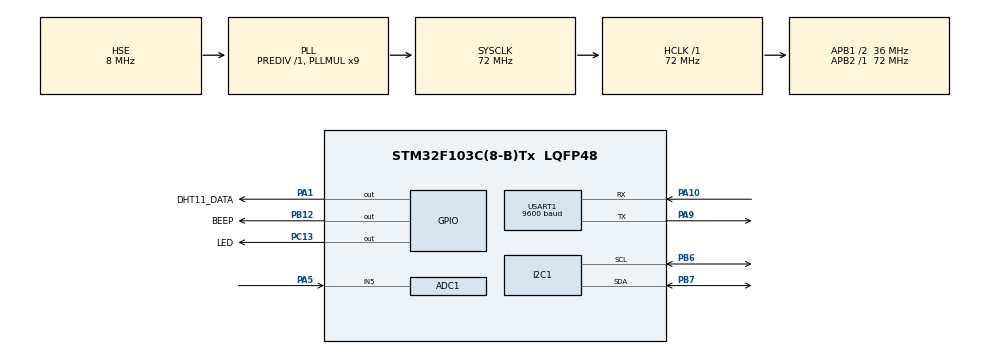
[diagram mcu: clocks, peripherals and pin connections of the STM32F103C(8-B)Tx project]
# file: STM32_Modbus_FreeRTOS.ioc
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ADC1.Channel-0\#ChannelRegularConversion=ADC_CHANNEL_5
ADC1.NbrOfConversionFlag=1
ADC1.Rank-0\#ChannelRegularConversion=1
ADC1.SamplingTime-0\#ChannelRegularConversion=ADC_SAMPLETIME_1CYCLE_5
ADC1.master=1
Dma.Request0=USART1_RX
Dma.Request1=USART1_TX
Dma.USART1_RX.0.Direction=DMA_PERIPH_TO_MEMORY
Dma.USART1_RX.0.Instance=DMA1_Channel5
Dma.USART1_RX.0.MemDataAlignment=DMA_MDATAALIGN_BYTE
Dma.USART1_RX.0.MemInc=DMA_MINC_ENABLE
Dma.USART1_RX.0.Mode=DMA_NORMAL
Dma.USART1_RX.0.PeriphDataAlignment=DMA_PDATAALIGN_BYTE
Dma.USART1_RX.0.PeriphInc=DMA_PINC_DISABLE
Dma.USART1_RX.0.Priority=DMA_PRIORITY_LOW
Dma.USART1_TX.1.Direction=DMA_MEMORY_TO_PERIPH
Dma.USART1_TX.1.Instance=DMA1_Channel4
Dma.USART1_TX.1.MemDataAlignment=DMA_MDATAALIGN_BYTE
Dma.USART1_TX.1.MemInc=DMA_MINC_ENABLE
Dma.USART1_TX.1.Mode=DMA_NORMAL
Dma.USART1_TX.1.PeriphDataAlignment=DMA_PDATAALIGN_BYTE
Dma.USART1_TX.1.PeriphInc=DMA_PINC_DISABLE
Dma.USART1_TX.1.Priority=DMA_PRIORITY_LOW
FREERTOS.Tasks01=commTask,25,128,StartCommTask,Default,NULL,Dynamic,NULL,NULL;dataTask,25,128,StartDataTask,Default,NULL,Dynamic,NULL,NULL;displayTask,8,128,StartDisplayTask,Default,NULL,Dynamic,NULL,NULL;ctrlTask,17,128,StartCtrlTask,Default,NULL,Dynamic,NULL,NULL
I2C1.I2C_Mode=I2C_Standard
Mcu.Family=STM32F1
Mcu.Name=STM32F103C(8-B)Tx
Mcu.Package=LQFP48
NVIC.DMA1_Channel4_IRQn=true\:5\:0\:false\:false\:true\:true\:false\:true\:true
NVIC.DMA1_Channel5_IRQn=true\:5\:0\:false\:false\:true\:true\:false\:true\:true
NVIC.PriorityGroup=NVIC_PRIORITYGROUP_4
NVIC.TIM4_IRQn=true\:15\:0\:false\:false\:true\:false\:false\:true\:true
NVIC.TimeBase=TIM4_IRQn
NVIC.TimeBaseIP=TIM4
NVIC.USART1_IRQn=true\:5\:0\:false\:false\:true\:true\:true\:true\:true
PA1.GPIO_Label=DHT11_DATA
PA1.Signal=GPIO_Output
PA10.Mode=Asynchronous
PA10.Signal=USART1_RX
PA13.Mode=Serial_Wire
PA13.Signal=SYS_JTMS-SWDIO
PA14.Mode=Serial_Wire
PA14.Signal=SYS_JTCK-SWCLK
PA5.Signal=ADCx_IN5
PA9.Mode=Asynchronous
PA9.Signal=USART1_TX
PB12.GPIO_Label=BEEP
PB12.PinState=GPIO_PIN_SET
PB12.Signal=GPIO_Output
PB6.Mode=I2C
PB6.Signal=I2C1_SCL
PB7.Mode=I2C
PB7.Signal=I2C1_SDA
PC13-TAMPER-RTC.GPIO_Label=LED
PC13-TAMPER-RTC.PinState=GPIO_PIN_SET
PC13-TAMPER-RTC.Signal=GPIO_Output
PC14-OSC32_IN.Mode=LSE-External-Oscillator
PC14-OSC32_IN.Signal=RCC_OSC32_IN
PC15-OSC32_OUT.Mode=LSE-External-Oscillator
PC15-OSC32_OUT.Signal=RCC_OSC32_OUT
PD0-OSC_IN.Mode=HSE-External-Oscillator
PD0-OSC_IN.Signal=RCC_OSC_IN
PD1-OSC_OUT.Mode=HSE-External-Oscillator
PD1-OSC_OUT.Signal=RCC_OSC_OUT
ProjectManager.HeapSize=0x200
ProjectManager.StackSize=0x400
ProjectManager.TargetToolchain=MDK-ARM V5.32
RCC.ADCPresc=RCC_ADCPCLK2_DIV6
RCC.AHBFreq_Value=72000000
RCC.APB1CLKDivider=RCC_HCLK_DIV2
RCC.APB1Freq_Value=36000000
RCC.APB1TimFreq_Value=72000000
RCC.APB2Freq_Value=72000000
RCC.APB2TimFreq_Value=72000000
RCC.HCLKFreq_Value=72000000
RCC.PLLMUL=RCC_PLL_MUL9
RCC.PLLSourceVirtual=RCC_PLLSOURCE_HSE
RCC.SYSCLKFreq_VALUE=72000000
RCC.SYSCLKSource=RCC_SYSCLKSOURCE_PLLCLK
RCC.USBFreq_Value=72000000
SH.ADCx_IN5.0=ADC1_IN5,IN5
TIM3.Prescaler=71
USART1.BaudRate=9600
USART1.VirtualMode=VM_ASYNC
VP_FREERTOS_VS_CMSIS_V2.Mode=CMSIS_V2
VP_SYS_VS_tim4.Mode=TIM4
VP_TIM3_VS_ClockSourceINT.Mode=Internal
board=custom

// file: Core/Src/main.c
/* USER CODE BEGIN Header */
/**
 ******************************************************************************
 * @file           : main.c
 * @brief          : Main program body
 ******************************************************************************
 * @attention
 *
 * Copyright (c) 2026 STMicroelectronics.
 * All rights reserved.
 *
 * This software is licensed under terms that can be found in the LICENSE file
 * in the root directory of this software component.
 * If no LICENSE file comes with this software, it is provided AS-IS.
 *
 ******************************************************************************
 */
/* USER CODE END Header */
#include "main.h"
#include "adc.h"
#include "cmsis_os.h"
#include "dma.h"
#include "gpio.h"
#include "i2c.h"
#include "tim.h"
#include "usart.h"

/* USER CODE BEGIN Includes */
#include "CRC.h"
#include "dht11.h"
#include "font.h"
#include "modbus.h"
#include "oled.h"
#include "param.h"
#include <stdio.h>
#include <string.h>
extern osThreadId_t commTaskHandle;
/* USER CODE END Includes */

/* USER CODE BEGIN PV */
volatile uint8_t Modbus_Frame_Flag = 0;
volatile uint16_t Modbus_RX_Length = 0;

DHT11_Data_TypeDef DHT11_Data;

uint16_t g_adc_value = 0;
float g_adc_voltage = 0.0f;

uint8_t g_temp_alarm_active = 0;    // 温度报警激活标志
uint8_t g_humi_alarm_active = 0;    // 湿度报警激活标志
uint8_t g_led_blink_state = 0;      // LED当前闪烁状态
uint8_t g_prev_alarm_active = 0;    // 上一次总报警状态
uint32_t g_last_led_blink_tick = 0; // LED闪烁计时

uint16_t g_last_slave_addr = 0;
uint16_t g_last_temp_alarm_high = 0;
uint16_t g_last_humi_alarm_high = 0;
/* USER CODE END PV */

void SystemClock_Config(void);
void MX_FREERTOS_Init(void);
/* USER CODE BEGIN PFP */
void Device_Data_Update(void);
void Device_Control_Update(void);
void Device_Alarm_Update(void);
void OLED_Display_Update(void);
/* USER CODE END PFP */

/* USER CODE BEGIN 0 */
/* UART 空闲接收回调：记录接收长度并唤醒 commTask 处理 Modbus 帧 */
void HAL_UARTEx_RxEventCallback(UART_HandleTypeDef *huart, uint16_t Size) {
  if (huart->Instance == USART1) {
    if (Size > 0) {
      Modbus_RX_Length = Size;
      Modbus_Frame_Flag = 1;
      osThreadFlagsSet(commTaskHandle, 0x01);
    }
  }
}

/* 采集传感器和 ADC 数据，并更新对应寄存器值 */
void Device_Data_Update(void) {
  HAL_ADC_Start(&hadc1);
  HAL_ADC_PollForConversion(&hadc1, HAL_MAX_DELAY);
  g_adc_value = HAL_ADC_GetValue(&hadc1);
  g_adc_voltage = (g_adc_value / 4095.0f) * 3.3f;

  Modbus_Register[REG_ADC_RAW] = g_adc_value;
  Modbus_Register[REG_ADC_VOLTAGE] = (uint16_t)(g_adc_voltage * 100);

  if (DHT11_Read_TempAndHumidity(&DHT11_Data) == 0) {
    Modbus_Register[REG_TEMP_VALUE] = (uint16_t)(DHT11_Data.temperature * 10);
    Modbus_Register[REG_HUMI_VALUE] = (uint16_t)(DHT11_Data.humidity * 10);
    Modbus_Register[REG_SENSOR_STATE] = 0;
  } else {
    Modbus_Register[REG_TEMP_VALUE] = 0;
    Modbus_Register[REG_HUMI_VALUE] = 0;
    Modbus_Register[REG_SENSOR_STATE] = 1;
  }
}

/* 根据报警状态和控制寄存器，更新 LED 与蜂鸣器输出 */
void Device_Control_Update(void) {
  /* LED控制 */
  if (g_temp_alarm_active ||
      g_humi_alarm_active) // 温度或湿度报警时，LED强制闪烁，不能手动控制
  {
    if (HAL_GetTick() - g_last_led_blink_tick >= 300) {
      g_last_led_blink_tick = HAL_GetTick();
      g_led_blink_state = !g_led_blink_state;
    }

    if (g_led_blink_state)
      HAL_GPIO_WritePin(LED_GPIO_Port, LED_Pin, GPIO_PIN_RESET);
    else
      HAL_GPIO_WritePin(LED_GPIO_Port, LED_Pin, GPIO_PIN_SET);
  } else {
    // 无温度或湿度报警时，LED恢复手动控制
    if (Modbus_Register[REG_LED_CTRL])
      HAL_GPIO_WritePin(LED_GPIO_Port, LED_Pin, GPIO_PIN_RESET);
    else
      HAL_GPIO_WritePin(LED_GPIO_Port, LED_Pin, GPIO_PIN_SET);
  }

  /* 蜂鸣器控制 */
  if (g_temp_alarm_active || g_humi_alarm_active) {
    // 报警期间允许手动关闭蜂鸣器
    if (Modbus_Register[REG_BEEP_CTRL])
      HAL_GPIO_WritePin(BEEP_GPIO_Port, BEEP_Pin, GPIO_PIN_RESET);
    else
      HAL_GPIO_WritePin(BEEP_GPIO_Port, BEEP_Pin, GPIO_PIN_SET);
  } else {
    // 无报警时按普通手动控制
    if (Modbus_Register[REG_BEEP_CTRL])
      HAL_GPIO_WritePin(BEEP_GPIO_Port, BEEP_Pin, GPIO_PIN_RESET);
    else
      HAL_GPIO_WritePin(BEEP_GPIO_Port, BEEP_Pin, GPIO_PIN_SET);
  }
}

/* 根据当前采样值和阈值，更新报警标志与报警状态 */
void Device_Alarm_Update(void) {
  uint8_t alarm_active = 0;

  Modbus_Register[REG_ALARM_FLAG] = 0;
  g_temp_alarm_active = 0;
  g_humi_alarm_active = 0;

  if (Modbus_Register[REG_TEMP_VALUE] > Modbus_Register[REG_TEMP_ALARM_HIGH]) {
    Modbus_Register[REG_ALARM_FLAG] |= 0x0001;
    g_temp_alarm_active = 1;
  }

  if (Modbus_Register[REG_HUMI_VALUE] > Modbus_Register[REG_HUMI_ALARM_HIGH]) {
    Modbus_Register[REG_ALARM_FLAG] |= 0x0002;
    g_humi_alarm_active = 1;
  }

  alarm_active = (g_temp_alarm_active || g_humi_alarm_active);

  // 温度或湿度报警刚发生时，自动打开蜂鸣器
  if (alarm_active && (g_prev_alarm_active == 0)) {
    Modbus_Register[REG_BEEP_CTRL] = 1; // 默认响
    g_led_blink_state = 1;              // 一进报警先亮
    g_last_led_blink_tick = HAL_GetTick();
  }

  // 所有报警都解除时，清闪烁状态
  if ((!alarm_active) && g_prev_alarm_active) {
    g_led_blink_state = 0;
  }

  g_prev_alarm_active = alarm_active;
}

/* 根据当前寄存器状态刷新 OLED 显示内容 */
void OLED_Display_Update(void) {
  char buf[50];

  OLED_NewFrame();

  // 第1行：温度 + 温度阈值
  sprintf(buf, "T:%2d.%d", Modbus_Register[REG_TEMP_VALUE] / 10,
          Modbus_Register[REG_TEMP_VALUE] % 10);
  OLED_PrintASCIIString(0, 0, buf, &afont16x8, OLED_COLOR_NORMAL);

  sprintf(buf, "TH:%2d.%d", Modbus_Register[REG_TEMP_ALARM_HIGH] / 10,
          Modbus_Register[REG_TEMP_ALARM_HIGH] % 10);
  OLED_PrintASCIIString(64, 0, buf, &afont16x8, OLED_COLOR_NORMAL);

  // 第2行：湿度 + 湿度阈值
  sprintf(buf, "H:%2d.%d", Modbus_Register[REG_HUMI_VALUE] / 10,
          Modbus_Register[REG_HUMI_VALUE] % 10);
  OLED_PrintASCIIString(0, 16, buf, &afont16x8, OLED_COLOR_NORMAL);

  sprintf(buf, "HH:%2d.%d", Modbus_Register[REG_HUMI_ALARM_HIGH] / 10,
          Modbus_Register[REG_HUMI_ALARM_HIGH] % 10);
  OLED_PrintASCIIString(64, 16, buf, &afont16x8, OLED_COLOR_NORMAL);

  // 第3行：报警标志 + 通讯状态
  sprintf(buf, "AL:%02X", Modbus_Register[REG_ALARM_FLAG]);
  OLED_PrintASCIIString(0, 32, buf, &afont16x8, OLED_COLOR_NORMAL);

  sprintf(buf, "CRC:%s", (Modbus_Register[REG_COMM_STATE] == 0) ? "OK" : "ER");
  OLED_PrintASCIIString(64, 32, buf, &afont16x8, OLED_COLOR_NORMAL);

  // 第4行：LED状态 + 蜂鸣器状态 + 电压
  if (g_temp_alarm_active || g_humi_alarm_active)
    sprintf(buf, "LED:A"); // 报警时LED强制闪烁，显示提示A
  else
    sprintf(buf, "LED:%s", Modbus_Register[REG_LED_CTRL] ? "1" : "0");
  OLED_PrintASCIIString(0, 48, buf, &afont16x8, OLED_COLOR_NORMAL);

  sprintf(buf, "B:%s", Modbus_Register[REG_BEEP_CTRL] ? "1" : "0");
  OLED_PrintASCIIString(48, 48, buf, &afont16x8, OLED_COLOR_NORMAL);

  // 电压
  sprintf(buf, "V:%1.1f", g_adc_voltage);
  OLED_PrintASCIIString(80, 48, buf, &afont16x8, OLED_COLOR_NORMAL);

  OLED_ShowFrame();
}
/* USER CODE END 0 */

int main(void) {

  /* MCU Configuration--------------------------------------------------------*/

  /* Reset of all peripherals, Initializes the Flash interface and the Systick.
   */
  HAL_Init();

  /* Configure the system clock */
  SystemClock_Config();

  /* Initialize all configured peripherals */
  MX_GPIO_Init();
  MX_DMA_Init();
  MX_I2C1_Init();
  MX_ADC1_Init();
  MX_USART1_UART_Init();
  MX_TIM3_Init();
  /* USER CODE BEGIN 2 */
  HAL_TIM_Base_Start(&htim3);          // DHT11微秒延时用
  HAL_ADCEx_Calibration_Start(&hadc1); // ADC校准
  HAL_Delay(50);
  OLED_Init();
  Modbus_Register_Init();
  Param_LoadToRegister(); // 从Flash恢复参数
  g_last_slave_addr = Modbus_Register[REG_SLAVE_ADDR];
  g_last_temp_alarm_high = Modbus_Register[REG_TEMP_ALARM_HIGH];
  g_last_humi_alarm_high = Modbus_Register[REG_HUMI_ALARM_HIGH];
  /* USER CODE END 2 */

  /* Init scheduler */
  osKernelInitialize(); /* Call init function for freertos objects (in
                           cmsis_os2.c) */
  MX_FREERTOS_Init();

  /* Start scheduler */
  osKernelStart();

  /* We should never get here as control is now taken by the scheduler */

  /* Infinite loop */
  while (1) {

  }
}

void SystemClock_Config(void) {
  RCC_OscInitTypeDef RCC_OscInitStruct = {0};
  RCC_ClkInitTypeDef RCC_ClkInitStruct = {0};
  RCC_PeriphCLKInitTypeDef PeriphClkInit = {0};

  /** Initializes the RCC Oscillators according to the specified parameters
   * in the RCC_OscInitTypeDef structure.
   */
  RCC_OscInitStruct.OscillatorType = RCC_OSCILLATORTYPE_HSE;
  RCC_OscInitStruct.HSEState = RCC_HSE_ON;
  RCC_OscInitStruct.HSEPredivValue = RCC_HSE_PREDIV_DIV1;
  RCC_OscInitStruct.HSIState = RCC_HSI_ON;
  RCC_OscInitStruct.PLL.PLLState = RCC_PLL_ON;
  RCC_OscInitStruct.PLL.PLLSource = RCC_PLLSOURCE_HSE;
  RCC_OscInitStruct.PLL.PLLMUL = RCC_PLL_MUL9;
  if (HAL_RCC_OscConfig(&RCC_OscInitStruct) != HAL_OK) {
    Error_Handler();
  }

  /** Initializes the CPU, AHB and APB buses clocks
   */
  RCC_ClkInitStruct.ClockType = RCC_CLOCKTYPE_HCLK | RCC_CLOCKTYPE_SYSCLK |
                                RCC_CLOCKTYPE_PCLK1 | RCC_CLOCKTYPE_PCLK2;
  RCC_ClkInitStruct.SYSCLKSource = RCC_SYSCLKSOURCE_PLLCLK;
  RCC_ClkInitStruct.AHBCLKDivider = RCC_SYSCLK_DIV1;
  RCC_ClkInitStruct.APB1CLKDivider = RCC_HCLK_DIV2;
  RCC_ClkInitStruct.APB2CLKDivider = RCC_HCLK_DIV1;

  if (HAL_RCC_ClockConfig(&RCC_ClkInitStruct, FLASH_LATENCY_2) != HAL_OK) {
    Error_Handler();
  }
  PeriphClkInit.PeriphClockSelection = RCC_PERIPHCLK_ADC;
  PeriphClkInit.AdcClockSelection = RCC_ADCPCLK2_DIV6;
  if (HAL_RCCEx_PeriphCLKConfig(&PeriphClkInit) != HAL_OK) {
    Error_Handler();
  }
}

void HAL_TIM_PeriodElapsedCallback(TIM_HandleTypeDef *htim) {
  if (htim->Instance == TIM4) {
    HAL_IncTick();
  }
}

void Error_Handler(void) {
  __disable_irq();
  while (1) {
  }
}
#ifdef USE_FULL_ASSERT
/**
 * @brief  Reports the name of the source file and the source line number
 *         where the assert_param error has occurred.
 * @param  file: pointer to the source file name
 * @param  line: assert_param error line source number
 * @retval None
 */
void assert_failed(uint8_t *file, uint32_t line) {
  /* USER CODE BEGIN 6 */
  /* User can add his own implementation to report the file name and line
     number, ex: printf("Wrong parameters value: file %s on line %d\r\n", file,
     line) */
  /* USER CODE END 6 */
}
#endif /* USE_FULL_ASSERT */

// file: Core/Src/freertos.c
/* USER CODE BEGIN Header */
/**
 ******************************************************************************
 * File Name          : freertos.c
 * Description        : Code for freertos applications
 ******************************************************************************
 * @attention
 *
 * Copyright (c) 2026 STMicroelectronics.
 * All rights reserved.
 *
 * This software is licensed under terms that can be found in the LICENSE file
 * in the root directory of this software component.
 * If no LICENSE file comes with this software, it is provided AS-IS.
 *
 ******************************************************************************
 */
/* USER CODE END Header */

#include "FreeRTOS.h"
#include "cmsis_os.h"
#include "main.h"
#include "task.h"

/* USER CODE BEGIN Includes */
#include "modbus.h"
#include "param.h"
#include "usart.h"
#include <string.h>
/* USER CODE END Includes */

/* Definitions for commTask */
osThreadId_t commTaskHandle;
const osThreadAttr_t commTask_attributes = {
    .name = "commTask",
    .stack_size = 128 * 4,
    .priority = (osPriority_t)osPriorityNormal1,
};
/* Definitions for dataTask */
osThreadId_t dataTaskHandle;
const osThreadAttr_t dataTask_attributes = {
    .name = "dataTask",
    .stack_size = 128 * 4,
    .priority = (osPriority_t)osPriorityNormal1,
};
/* Definitions for displayTask */
osThreadId_t displayTaskHandle;
const osThreadAttr_t displayTask_attributes = {
    .name = "displayTask",
    .stack_size = 128 * 4,
    .priority = (osPriority_t)osPriorityLow,
};
/* Definitions for ctrlTask */
osThreadId_t ctrlTaskHandle;
const osThreadAttr_t ctrlTask_attributes = {
    .name = "ctrlTask",
    .stack_size = 128 * 4,
    .priority = (osPriority_t)osPriorityBelowNormal1,
};

/* USER CODE BEGIN FunctionPrototypes */
extern void Device_Data_Update(void);
extern void Device_Control_Update(void);
extern void Device_Alarm_Update(void);
extern void OLED_Display_Update(void);

extern volatile uint8_t Modbus_Frame_Flag;
extern volatile uint16_t Modbus_RX_Length;

extern uint16_t g_last_slave_addr;
extern uint16_t g_last_temp_alarm_high;
extern uint16_t g_last_humi_alarm_high;
/* USER CODE END FunctionPrototypes */

void StartCommTask(void *argument);
void StartDataTask(void *argument);
void StartDisplayTask(void *argument);
void StartCtrlTask(void *argument);

void MX_FREERTOS_Init(void); /* (MISRA C 2004 rule 8.1) */

void MX_FREERTOS_Init(void) {

  /* Create the thread(s) */
  /* creation of commTask */
  commTaskHandle = osThreadNew(StartCommTask, NULL, &commTask_attributes);

  /* creation of dataTask */
  dataTaskHandle = osThreadNew(StartDataTask, NULL, &dataTask_attributes);

  /* creation of displayTask */
  displayTaskHandle =
      osThreadNew(StartDisplayTask, NULL, &displayTask_attributes);

  /* creation of ctrlTask */
  ctrlTaskHandle = osThreadNew(StartCtrlTask, NULL, &ctrlTask_attributes);

}

/* USER CODE BEGIN Header_StartCommTask */
/**
 * @brief 通信任务：等待串口接收事件，处理 Modbus 帧并重新开启 DMA 接收
 * @param argument: Not used
 * @retval None
 */
/* USER CODE END Header_StartCommTask */
void StartCommTask(void *argument) {
  /* USER CODE BEGIN StartCommTask */
  /* Infinite loop */
  HAL_UARTEx_ReceiveToIdle_DMA(&huart1, Modbus_RX_Buffer,
                               sizeof(Modbus_RX_Buffer));
  __HAL_DMA_DISABLE_IT(huart1.hdmarx, DMA_IT_HT);
  for (;;) {
    osThreadFlagsWait(0x01, osFlagsWaitAny, osWaitForever);

    if (Modbus_Frame_Flag) {
      Modbus_Frame_Flag = 0;

      if (Modbus_Server() == 1)
        Modbus_Register[REG_COMM_STATE] = 0;
      else
        Modbus_Register[REG_COMM_STATE] = 1;

      memset(Modbus_RX_Buffer, 0, sizeof(Modbus_RX_Buffer));
      Modbus_RX_Length = 0;

      HAL_UARTEx_ReceiveToIdle_DMA(&huart1, Modbus_RX_Buffer,
                                   sizeof(Modbus_RX_Buffer));
      __HAL_DMA_DISABLE_IT(huart1.hdmarx, DMA_IT_HT);
    }
  }
  /* USER CODE END StartCommTask */
}

/* USER CODE BEGIN Header_StartDataTask */
/**
 * @brief 采集任务：周期采集传感器和 ADC 数据，并更新报警状态
 * @param argument: Not used
 * @retval None
 */
/* USER CODE END Header_StartDataTask */
void StartDataTask(void *argument) {
  /* USER CODE BEGIN StartDataTask */
  /* Infinite loop */
  for (;;) {
    Device_Data_Update();
    Device_Alarm_Update();
    osDelay(1000);
  }
  /* USER CODE END StartDataTask */
}

/* USER CODE BEGIN Header_StartDisplayTask */
/**
 * @brief 显示任务：周期刷新 OLED 显示内容
 * @param argument: Not used
 * @retval None
 */
/* USER CODE END Header_StartDisplayTask */
void StartDisplayTask(void *argument) {
  /* USER CODE BEGIN StartDisplayTask */
  /* Infinite loop */
  for (;;) {
    OLED_Display_Update();
    osDelay(500);
  }
  /* USER CODE END StartDisplayTask */
}

/* USER CODE BEGIN Header_StartCtrlTask */
/**
 * @brief 控制任务：处理 LED/蜂鸣器控制，并负责参数变化检测与延时保存
 * @param argument: Not used
 * @retval None
 */
/* USER CODE END Header_StartCtrlTask */
void StartCtrlTask(void *argument) {
  /* USER CODE BEGIN StartCtrlTask */
  /* Infinite loop */
  for (;;) {
    Device_Control_Update();

    if (Modbus_Register[REG_SLAVE_ADDR] != g_last_slave_addr ||
        Modbus_Register[REG_TEMP_ALARM_HIGH] != g_last_temp_alarm_high ||
        Modbus_Register[REG_HUMI_ALARM_HIGH] != g_last_humi_alarm_high) {
      g_last_slave_addr = Modbus_Register[REG_SLAVE_ADDR];
      g_last_temp_alarm_high = Modbus_Register[REG_TEMP_ALARM_HIGH];
      g_last_humi_alarm_high = Modbus_Register[REG_HUMI_ALARM_HIGH];

      Param_RequestSave();
    }

    if (g_param_need_save && (HAL_GetTick() - g_param_save_tick >= 2000)) {
      g_param_need_save = 0;
      Param_SaveFromRegister();
    }

    osDelay(100);
  }
  /* USER CODE END StartCtrlTask */
}
